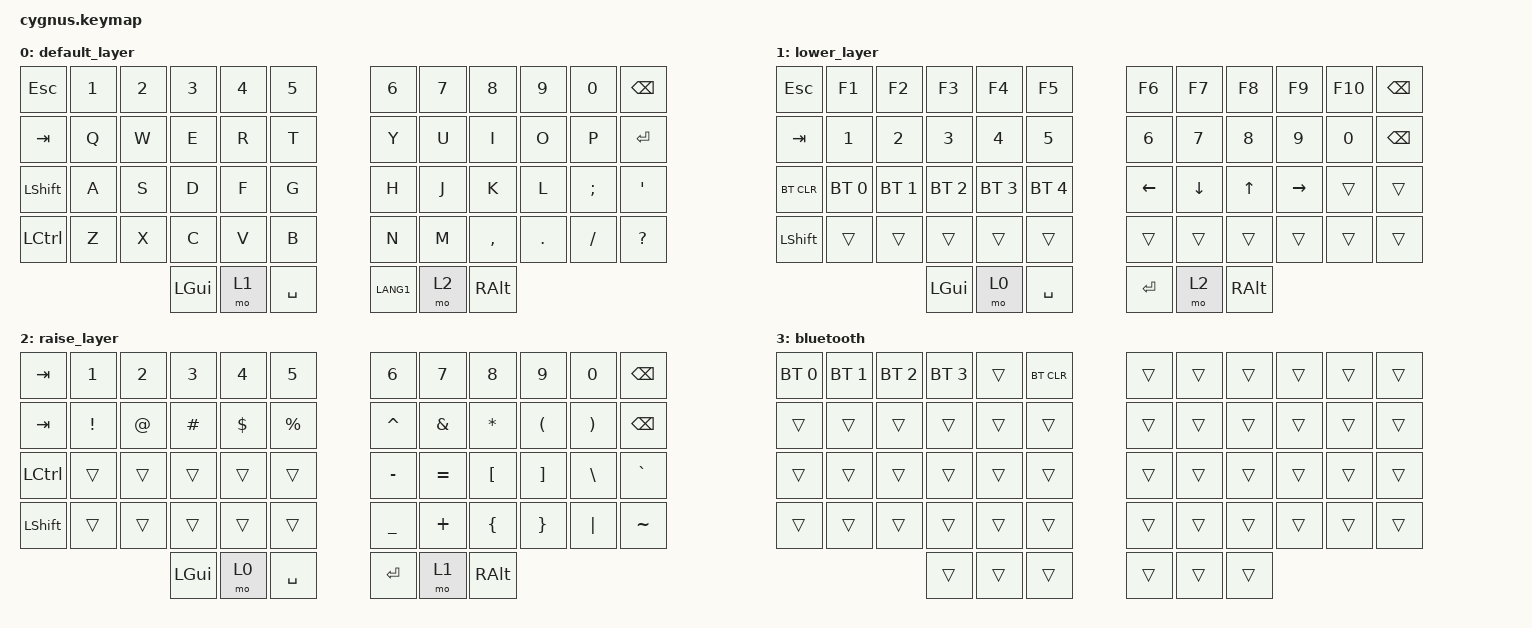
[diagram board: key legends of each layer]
#include <behaviors.dtsi>
#include <dt-bindings/zmk/bt.h>
#include <dt-bindings/zmk/keys.h>

/ {
    combos {
        compatible = "zmk,combos";

        bluetooth {
            bindings = <&mo 3>;
            key-positions = <41 36>;
        };

        bt2 {
            bindings = <&mo 3>;
            key-positions = <48 53>;
        };
    };

    behaviors {
        hml: hml {
            compatible = "zmk,behavior-hold-tap";
            label = "HOME_ROW_LEFT";
            bindings = <&kp>, <&kp>;

            #binding-cells = <2>;
            hold-trigger-key-positions = <6 7 8 9 10 11 18 19 20 21 22 23 30 31 32 33 34 35 42 43 44 45 46 47>;
            tapping-term-ms = <180>;
            quick-tap-ms = <175>;
            require-prior-idle-ms = <150>;
            flavor = "balanced";
            hold-trigger-on-release;
        };

        hmr: hmr {
            compatible = "zmk,behavior-hold-tap";
            label = "HOME_ROW_RIGHT";
            bindings = <&kp>, <&kp>;

            #binding-cells = <2>;
            tapping-term-ms = <180>;
            quick-tap-ms = <175>;
            require-prior-idle-ms = <150>;
            flavor = "balanced";
            hold-trigger-key-positions = <0 1 2 3 4 5 12 13 14 15 16 17 24 25 26 27 28 29 36 37 38 39 40 41>;
            hold-trigger-on-release;
        };
    };

    keymap {
        compatible = "zmk,keymap";

                default_layer {
// -----------------------------------------------------------------------------------------
// |  ESC |  1  |  2  |  3  |  4  |  5  |   |  6  |  7   |  8  |  9  |  0  | BKSP |
// |  TAB |  Q  |  W  |  E  |  R  |  T  |   |  Y  |  U   |  I  |  O  |  P  | enter|
// | SHFT |  A  |  S  |  D  |  F  |  G  |   |  H  |  J   |  K  |  L  |  ;  |  '   |
// | CTRL |  Z  |  X  |  C  |  V  |  B  |   |  N  |  M   |  ,  |  .  |  /  |  ?   |
//                    | GUI | LWR | SPC |   |LANG | RSE  | ALT |
                        bindings = <
   &kp ESC &kp N1 &kp N2 &kp N3 &kp N4 &kp N5 &kp N6 &kp N7 &kp N8 &kp N9 &kp N0 &kp BSPC
   &kp TAB   &kp Q &kp W &kp E &kp R &kp T   &kp Y &kp U  &kp I     &kp O   &kp P    &kp RET
   &kp LSHFT &kp A &kp S &kp D &kp F &kp G   &kp H &kp J  &kp K     &kp L   &kp SEMI &kp SQT
   &kp LCTRL &kp Z &kp X &kp C &kp V &kp B   &kp N &kp M  &kp COMMA &kp DOT &kp FSLH &kp QMARK
                  &kp LGUI &mo 1 &kp SPACE   &kp LANG1 &mo 2 &kp RALT
                        >;
                };
                lower_layer {
// -----------------------------------------------------------------------------------------
// |  ESC |  F1 |  F2 |  F3 |  F4 |  F5 |   |  F6 |  F7 |  F8 |  F9 | F10 | BKSP |
// |  TAB |  1  |  2  |  3  |  4  |  5  |   |  6  |  7  |  8  |  9  |  0  | BKSP |
// | BTCLR| BT1 | BT2 | BT3 | BT4 | BT5 |   | LFT | DWN |  UP | RGT |     |      |
// | SHFT |     |     |     |     |     |   |     |     |     |     |     |      |
//                    | GUI |     | SPC |   | ENT |     | ALT |
                        bindings = <
   &kp ESC &kp F1 &kp F2 &kp F3 &kp F4 &kp F5 &kp F6 &kp F7 &kp F8 &kp F9 &kp F10 &kp BSPC
   &kp TAB    &kp N1       &kp N2       &kp N3       &kp N4       &kp N5         &kp N6   &kp N7   &kp N8 &kp N9    &kp N0 &kp BSPC
   &bt BT_CLR &bt BT_SEL 0 &bt BT_SEL 1 &bt BT_SEL 2 &bt BT_SEL 3 &bt BT_SEL 4   &kp LEFT &kp DOWN &kp UP &kp RIGHT &trans &trans
   &kp LSHFT  &trans       &trans       &trans       &trans       &trans         &trans   &trans   &trans &trans    &trans &trans
                                    &kp LGUI     &mo 0       &kp SPACE      &kp RET  &mo 2   &kp RALT
                        >;
                };

                raise_layer {
// -----------------------------------------------------------------------------------------
// |  TAB |  !  |  @  |  #  |  $  |  %  |   |  ^  |  &  |  *  |  (  |  )  | BKSP |
// | CTRL |     |     |     |     |     |   |  -  |  =  |  [  |  ]  |  \  |  `   |
// | SHFT |     |     |     |     |     |   |  _  |  +  |  {  |  }  | "|" |  ~   |
//                    | GUI |     | SPC |   | ENT |     | ALT |
                        bindings = <
   &kp TAB &kp N1 &kp N2 &kp N3 &kp N4 &kp N5 &kp N6 &kp N7 &kp N8 &kp N9 &kp N0 &kp BSPC
   &kp  TAB  &kp EXCL &kp AT &kp HASH &kp DLLR &kp PRCNT   &kp CARET &kp AMPS  &kp ASTRK &kp LPAR &kp RPAR &kp BSPC
   &kp LCTRL &trans   &trans &trans   &trans   &trans      &kp MINUS &kp EQUAL &kp LBKT  &kp RBKT &kp BSLH &kp GRAVE
   &kp LSHFT &trans   &trans &trans   &trans   &trans      &kp UNDER &kp PLUS  &kp LBRC  &kp RBRC &kp PIPE &kp TILDE
                             &kp LGUI &mo 0   &kp SPACE   &kp RET   &mo 1    &kp RALT
            >;
        };

        bluetooth {
            bindings = <
&bt BT_SEL 0  &bt BT_SEL 1  &bt BT_SEL 2  &bt BT_SEL 3  &trans  &bt BT_CLR    &trans  &trans  &trans  &trans  &trans  &trans
&trans        &trans        &trans        &trans        &trans  &trans        &trans  &trans  &trans  &trans  &trans  &trans
&trans        &trans        &trans        &trans        &trans  &trans        &trans  &trans  &trans  &trans  &trans  &trans
&trans        &trans        &trans        &trans        &trans  &trans        &trans  &trans  &trans  &trans  &trans  &trans
                                          &trans        &trans  &trans        &trans  &trans  &trans
            >;
        };
    };
};
